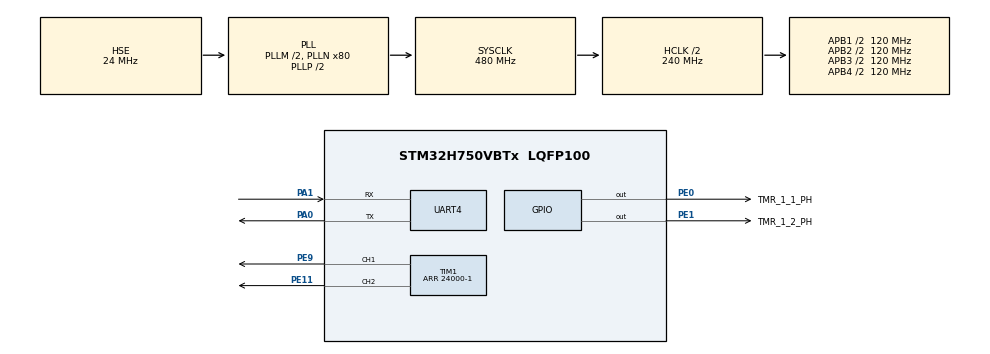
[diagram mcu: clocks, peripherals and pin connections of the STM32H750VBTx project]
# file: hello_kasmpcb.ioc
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Mcu.Family=STM32H7
Mcu.Name=STM32H750VBTx
Mcu.Package=LQFP100
NVIC.PriorityGroup=NVIC_PRIORITYGROUP_4
NVIC.TIM1_UP_IRQn=true\:0\:0\:false\:false\:true\:true\:true\:true
PA0.Mode=Asynchronous
PA0.Signal=UART4_TX
PA1.Mode=Asynchronous
PA1.Signal=UART4_RX
PA13\ (JTMS/SWDIO).Mode=Trace_Asynchronous_SW
PA13\ (JTMS/SWDIO).Signal=DEBUG_JTMS-SWDIO
PA14\ (JTCK/SWCLK).Mode=Trace_Asynchronous_SW
PA14\ (JTCK/SWCLK).Signal=DEBUG_JTCK-SWCLK
PB3\ (JTDO/TRACESWO).Mode=Trace_Asynchronous_SW
PB3\ (JTDO/TRACESWO).Signal=DEBUG_JTDO-SWO
PE0.GPIO_Label=TMR_1_1_PH
PE0.Signal=GPIO_Output
PE1.GPIO_Label=TMR_1_2_PH
PE1.Signal=GPIO_Output
PE11.Signal=S_TIM1_CH2
PE9.Signal=S_TIM1_CH1
PH0-OSC_IN\ (PH0).Mode=HSE-External-Oscillator
PH0-OSC_IN\ (PH0).Signal=RCC_OSC_IN
PH1-OSC_OUT\ (PH1).Mode=HSE-External-Oscillator
PH1-OSC_OUT\ (PH1).Signal=RCC_OSC_OUT
ProjectManager.HeapSize=0x200
ProjectManager.StackSize=0x400
ProjectManager.TargetToolchain=STM32CubeIDE
RCC.ADCFreq_Value=48375000
RCC.APB1Freq_Value=120000000
RCC.APB2Freq_Value=120000000
RCC.APB3Freq_Value=120000000
RCC.APB4Freq_Value=120000000
RCC.CortexFreq_Value=480000000
RCC.D1PPRE=RCC_APB3_DIV2
RCC.D2PPRE1=RCC_APB1_DIV2
RCC.D2PPRE2=RCC_APB2_DIV2
RCC.D3PPRE=RCC_APB4_DIV2
RCC.DIVM1=2
RCC.DIVN1=80
RCC.HCLKFreq_Value=240000000
RCC.HPRE=RCC_HCLK_DIV2
RCC.HSE_VALUE=24000000
RCC.PLLSourceVirtual=RCC_PLLSOURCE_HSE
RCC.SYSCLKFreq_VALUE=480000000
RCC.SYSCLKSource=RCC_SYSCLKSOURCE_PLLCLK
RCC.USBFreq_Value=480000000
SH.S_TIM1_CH1.0=TIM1_CH1,PWM Generation1 CH1
SH.S_TIM1_CH2.0=TIM1_CH2,PWM Generation2 CH2
TIM1.AutoReloadPreload=TIM_AUTORELOAD_PRELOAD_ENABLE
TIM1.Channel-PWM\ Generation1\ CH1=TIM_CHANNEL_1
TIM1.Channel-PWM\ Generation2\ CH2=TIM_CHANNEL_2
TIM1.Period=24000-1
VP_TIM1_VS_ClockSourceINT.Mode=Internal
board=custom

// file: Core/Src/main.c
/* USER CODE BEGIN Header */
/**
  ******************************************************************************
  * @file           : main.c
  * @brief          : Main program body
  ******************************************************************************
  * @attention
  *
  * Copyright (c) 2024 STMicroelectronics.
  * All rights reserved.
  *
  * This software is licensed under terms that can be found in the LICENSE file
  * in the root directory of this software component.
  * If no LICENSE file comes with this software, it is provided AS-IS.
  *
  ******************************************************************************
  */
/* USER CODE END Header */
#include "main.h"

/* USER CODE BEGIN Includes */
#include <math.h>

/* USER CODE END Includes */

/* USER CODE BEGIN PD */
#define PERIOD 23999
#define SIN_PERIOD 1000 // period of the sin wave in PWM update rates
#define TRUE 1
#define FALSE 0
#define ONESEC 10000
#ifndef M_PI
#define M_PI 3.14159265358979323846
#endif
#define TWO_PI (2*M_PI)
/* USER CODE END PD */

TIM_HandleTypeDef htim1;

UART_HandleTypeDef huart4;

/* USER CODE BEGIN PV */
static int pulsewidth = 0; // module level variable to hold the duty cycle
static const double VSS = 1.8; // fixed by PCB design
char msg[80];
int msg_length;
uint8_t ctrl_tmr_expired = FALSE; //controller update flag
static double ref=0;// reference (input) for control loop
static double test_val = {0};
static double sine_vals[SIN_PERIOD] = {0};

/* USER CODE END PV */

void SystemClock_Config(void);
static void MX_GPIO_Init(void);
static void MX_UART4_Init(void);
static void MX_TIM1_Init(void);
/* USER CODE BEGIN PFP */
static void control_update(double ref);
static uint16_t calc_dutycycle(double v_in, double vss);
static void gen_sine(void);
/* USER CODE END PFP */

int main(void)
{

  /* MCU Configuration--------------------------------------------------------*/

  /* Reset of all peripherals, Initializes the Flash interface and the Systick. */
  HAL_Init();

  /* Configure the system clock */
  SystemClock_Config();

  /* Initialize all configured peripherals */
  MX_GPIO_Init();
  MX_UART4_Init();
  MX_TIM1_Init();
  /* USER CODE BEGIN 2 */
  HAL_TIM_Base_Start_IT(&htim1);
  HAL_TIM_PWM_Start(&htim1, TIM_CHANNEL_1); // Start PWM generation on timer 1, channel 1
  HAL_TIM_PWM_Start(&htim1, TIM_CHANNEL_2);
  HAL_GPIO_WritePin(TMR_1_1_PH_GPIO_Port, TMR_1_1_PH_Pin, GPIO_PIN_SET);
  HAL_GPIO_WritePin(TMR_1_2_PH_GPIO_Port, TMR_1_2_PH_Pin, GPIO_PIN_SET); //Initializes the channel 2 Pins
  gen_sine();
  /* USER CODE END 2 */

  /* Infinite loop */
  /* USER CODE BEGIN WHILE */
  while (1)
  {
	  if(ctrl_tmr_expired == TRUE) control_update(ref);
    /* USER CODE END WHILE */

  }
}

void SystemClock_Config(void)
{
  RCC_OscInitTypeDef RCC_OscInitStruct = {0};
  RCC_ClkInitTypeDef RCC_ClkInitStruct = {0};

  /** Supply configuration update enable
  */
  HAL_PWREx_ConfigSupply(PWR_LDO_SUPPLY);

  /** Configure the main internal regulator output voltage
  */
  __HAL_PWR_VOLTAGESCALING_CONFIG(PWR_REGULATOR_VOLTAGE_SCALE1);

  while(!__HAL_PWR_GET_FLAG(PWR_FLAG_VOSRDY)) {}

  __HAL_RCC_SYSCFG_CLK_ENABLE();
  __HAL_PWR_VOLTAGESCALING_CONFIG(PWR_REGULATOR_VOLTAGE_SCALE0);

  while(!__HAL_PWR_GET_FLAG(PWR_FLAG_VOSRDY)) {}

  /** Initializes the RCC Oscillators according to the specified parameters
  * in the RCC_OscInitTypeDef structure.
  */
  RCC_OscInitStruct.OscillatorType = RCC_OSCILLATORTYPE_HSE;
  RCC_OscInitStruct.HSEState = RCC_HSE_ON;
  RCC_OscInitStruct.PLL.PLLState = RCC_PLL_ON;
  RCC_OscInitStruct.PLL.PLLSource = RCC_PLLSOURCE_HSE;
  RCC_OscInitStruct.PLL.PLLM = 2;
  RCC_OscInitStruct.PLL.PLLN = 80;
  RCC_OscInitStruct.PLL.PLLP = 2;
  RCC_OscInitStruct.PLL.PLLQ = 2;
  RCC_OscInitStruct.PLL.PLLR = 2;
  RCC_OscInitStruct.PLL.PLLRGE = RCC_PLL1VCIRANGE_3;
  RCC_OscInitStruct.PLL.PLLVCOSEL = RCC_PLL1VCOWIDE;
  RCC_OscInitStruct.PLL.PLLFRACN = 0;
  if (HAL_RCC_OscConfig(&RCC_OscInitStruct) != HAL_OK)
  {
    Error_Handler();
  }

  /** Initializes the CPU, AHB and APB buses clocks
  */
  RCC_ClkInitStruct.ClockType = RCC_CLOCKTYPE_HCLK|RCC_CLOCKTYPE_SYSCLK
                              |RCC_CLOCKTYPE_PCLK1|RCC_CLOCKTYPE_PCLK2
                              |RCC_CLOCKTYPE_D3PCLK1|RCC_CLOCKTYPE_D1PCLK1;
  RCC_ClkInitStruct.SYSCLKSource = RCC_SYSCLKSOURCE_PLLCLK;
  RCC_ClkInitStruct.SYSCLKDivider = RCC_SYSCLK_DIV1;
  RCC_ClkInitStruct.AHBCLKDivider = RCC_HCLK_DIV2;
  RCC_ClkInitStruct.APB3CLKDivider = RCC_APB3_DIV2;
  RCC_ClkInitStruct.APB1CLKDivider = RCC_APB1_DIV2;
  RCC_ClkInitStruct.APB2CLKDivider = RCC_APB2_DIV2;
  RCC_ClkInitStruct.APB4CLKDivider = RCC_APB4_DIV2;

  if (HAL_RCC_ClockConfig(&RCC_ClkInitStruct, FLASH_LATENCY_4) != HAL_OK)
  {
    Error_Handler();
  }
}

static void MX_TIM1_Init(void)
{

  TIM_ClockConfigTypeDef sClockSourceConfig = {0};
  TIM_MasterConfigTypeDef sMasterConfig = {0};
  TIM_OC_InitTypeDef sConfigOC = {0};
  TIM_BreakDeadTimeConfigTypeDef sBreakDeadTimeConfig = {0};

  htim1.Instance = TIM1;
  htim1.Init.Prescaler = 0;
  htim1.Init.CounterMode = TIM_COUNTERMODE_UP;
  htim1.Init.Period = 24000-1;
  htim1.Init.ClockDivision = TIM_CLOCKDIVISION_DIV1;
  htim1.Init.RepetitionCounter = 0;
  htim1.Init.AutoReloadPreload = TIM_AUTORELOAD_PRELOAD_ENABLE;
  if (HAL_TIM_Base_Init(&htim1) != HAL_OK)
  {
    Error_Handler();
  }
  sClockSourceConfig.ClockSource = TIM_CLOCKSOURCE_INTERNAL;
  if (HAL_TIM_ConfigClockSource(&htim1, &sClockSourceConfig) != HAL_OK)
  {
    Error_Handler();
  }
  if (HAL_TIM_PWM_Init(&htim1) != HAL_OK)
  {
    Error_Handler();
  }
  sMasterConfig.MasterOutputTrigger = TIM_TRGO_RESET;
  sMasterConfig.MasterOutputTrigger2 = TIM_TRGO2_RESET;
  sMasterConfig.MasterSlaveMode = TIM_MASTERSLAVEMODE_DISABLE;
  if (HAL_TIMEx_MasterConfigSynchronization(&htim1, &sMasterConfig) != HAL_OK)
  {
    Error_Handler();
  }
  sConfigOC.OCMode = TIM_OCMODE_PWM1;
  sConfigOC.Pulse = 0;
  sConfigOC.OCPolarity = TIM_OCPOLARITY_HIGH;
  sConfigOC.OCNPolarity = TIM_OCNPOLARITY_HIGH;
  sConfigOC.OCFastMode = TIM_OCFAST_DISABLE;
  sConfigOC.OCIdleState = TIM_OCIDLESTATE_RESET;
  sConfigOC.OCNIdleState = TIM_OCNIDLESTATE_RESET;
  if (HAL_TIM_PWM_ConfigChannel(&htim1, &sConfigOC, TIM_CHANNEL_1) != HAL_OK)
  {
    Error_Handler();
  }
  if (HAL_TIM_PWM_ConfigChannel(&htim1, &sConfigOC, TIM_CHANNEL_2) != HAL_OK)
  {
    Error_Handler();
  }
  sBreakDeadTimeConfig.OffStateRunMode = TIM_OSSR_DISABLE;
  sBreakDeadTimeConfig.OffStateIDLEMode = TIM_OSSI_DISABLE;
  sBreakDeadTimeConfig.LockLevel = TIM_LOCKLEVEL_OFF;
  sBreakDeadTimeConfig.DeadTime = 0;
  sBreakDeadTimeConfig.BreakState = TIM_BREAK_DISABLE;
  sBreakDeadTimeConfig.BreakPolarity = TIM_BREAKPOLARITY_HIGH;
  sBreakDeadTimeConfig.BreakFilter = 0;
  sBreakDeadTimeConfig.Break2State = TIM_BREAK2_DISABLE;
  sBreakDeadTimeConfig.Break2Polarity = TIM_BREAK2POLARITY_HIGH;
  sBreakDeadTimeConfig.Break2Filter = 0;
  sBreakDeadTimeConfig.AutomaticOutput = TIM_AUTOMATICOUTPUT_DISABLE;
  if (HAL_TIMEx_ConfigBreakDeadTime(&htim1, &sBreakDeadTimeConfig) != HAL_OK)
  {
    Error_Handler();
  }
  HAL_TIM_MspPostInit(&htim1);

}

static void MX_UART4_Init(void)
{

  huart4.Instance = UART4;
  huart4.Init.BaudRate = 115200;
  huart4.Init.WordLength = UART_WORDLENGTH_8B;
  huart4.Init.StopBits = UART_STOPBITS_1;
  huart4.Init.Parity = UART_PARITY_NONE;
  huart4.Init.Mode = UART_MODE_TX_RX;
  huart4.Init.HwFlowCtl = UART_HWCONTROL_NONE;
  huart4.Init.OverSampling = UART_OVERSAMPLING_16;
  huart4.Init.OneBitSampling = UART_ONE_BIT_SAMPLE_DISABLE;
  huart4.Init.ClockPrescaler = UART_PRESCALER_DIV1;
  huart4.AdvancedInit.AdvFeatureInit = UART_ADVFEATURE_NO_INIT;
  if (HAL_UART_Init(&huart4) != HAL_OK)
  {
    Error_Handler();
  }
  if (HAL_UARTEx_SetTxFifoThreshold(&huart4, UART_TXFIFO_THRESHOLD_1_8) != HAL_OK)
  {
    Error_Handler();
  }
  if (HAL_UARTEx_SetRxFifoThreshold(&huart4, UART_RXFIFO_THRESHOLD_1_8) != HAL_OK)
  {
    Error_Handler();
  }
  if (HAL_UARTEx_DisableFifoMode(&huart4) != HAL_OK)
  {
    Error_Handler();
  }

}

static void MX_GPIO_Init(void)
{
  GPIO_InitTypeDef GPIO_InitStruct = {0};

  /* GPIO Ports Clock Enable */
  __HAL_RCC_GPIOH_CLK_ENABLE();
  __HAL_RCC_GPIOA_CLK_ENABLE();
  __HAL_RCC_GPIOE_CLK_ENABLE();
  __HAL_RCC_GPIOB_CLK_ENABLE();

  /*Configure GPIO pin Output Level */
  HAL_GPIO_WritePin(GPIOE, TMR_1_1_PH_Pin|TMR_1_2_PH_Pin, GPIO_PIN_RESET);

  /*Configure GPIO pins : TMR_1_1_PH_Pin TMR_1_2_PH_Pin */
  GPIO_InitStruct.Pin = TMR_1_1_PH_Pin|TMR_1_2_PH_Pin;
  GPIO_InitStruct.Mode = GPIO_MODE_OUTPUT_PP;
  GPIO_InitStruct.Pull = GPIO_NOPULL;
  GPIO_InitStruct.Speed = GPIO_SPEED_FREQ_LOW;
  HAL_GPIO_Init(GPIOE, &GPIO_InitStruct);

}

/* USER CODE BEGIN 4 */

void HAL_TIM_PeriodElapsedCallback(TIM_HandleTypeDef *htim)
{
	static int i = 0;  // index for actuator update
	static int t = 0; // variable to track time
	const int period = 10; // number of timer rollovers between updates
	const double step = 0.3;// max step size in volts

    if (htim==&htim1){
    	t+=1;
    	if(t%period == 0)
    	{
    		if(i>=SIN_PERIOD) i = 0;
    		//update the output
    		ref = sine_vals[i]*step;
			// inform main that the actuators need an update
    		i+=1;
			ctrl_tmr_expired = TRUE;
    	}
	}

}

static void control_update(double ref)
{
	// sign bit of the command fed to phase input on the h-bridge
	static int phase=GPIO_PIN_SET;
	int new_phase = {0};
	static uint16_t dutycycle=0;
	uint16_t new_dc;
	double absref = 0;

	// indicate interrupt operation
//	HAL_GPIO_TogglePin(UPDATE_GPIO_Port, UPDATE_Pin);

	// set the sign of the move (phase)
	if(ref < 0){
		phase = GPIO_PIN_RESET; // reverse direction
	} else {
		phase = GPIO_PIN_SET; //forward direction
	}
	// update the phase if it has changed
//	if(new_phase != phase){
		HAL_GPIO_WritePin(TMR_1_1_PH_GPIO_Port, TMR_1_1_PH_Pin, phase);
//	}

	// calculate the dutycycle
	absref = fabs(ref); // duty cycle must be positive
	new_dc = calc_dutycycle(absref,VSS);
	// if new dutycycle is different than the old dutycycle
	if(new_dc != dutycycle){
		// then save new dutycycle
		dutycycle = new_dc;
		//set the new timer dutycycle register
		TIM1->CCR1 = dutycycle;
	}

	// reset timer flag
	ctrl_tmr_expired = FALSE;
}

static uint16_t calc_dutycycle(double cmd, double vss)
{
	//------------------------------//
	//	@function calc_dutycycle(cmd, vss)
	//	@ param cmd command voltage
	//	@ param vss supply voltage
	//	@ return dutycycle

	// duty cycle variable
	uint16_t dc={0};

	dc = (uint16_t)(cmd/vss * (double)PERIOD);
	// keep the dutycycle within the period of the PWM signal
	if(dc>PERIOD) dc = PERIOD;

	return dc;
}

static void gen_sine(void)
{
	int i = 0;
	double scale = TWO_PI/SIN_PERIOD;
	for(i=0; i<SIN_PERIOD; i++ )
	{
		sine_vals[i] = sin(i*scale);
	}
}

/* USER CODE END 4 */

void Error_Handler(void)
{
  __disable_irq();
  while (1)
  {
  }
}
